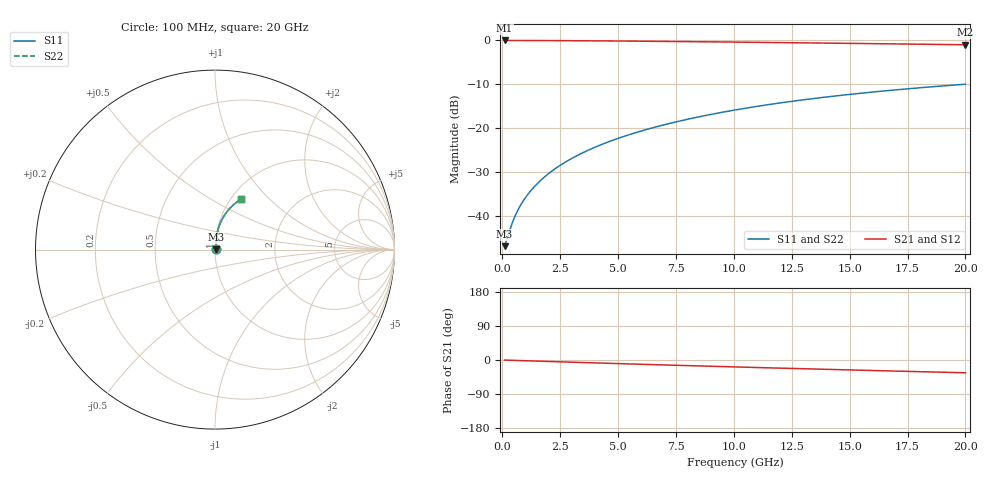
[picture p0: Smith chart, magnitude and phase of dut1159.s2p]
! Touchstone file exported from HFSS 2024.1.0
!  File:  C:/UserFiles/LocalFiles/RDL_TSV_Batchsim/temp_RDL_bottom_1159_1780056408.aedt
!  Generated:  08:09:33 PM May 29, 2026
!  Design:  RDL_bottom
!  Project:  temp_RDL_bottom_1159_1780056408
!  Setup:  Setup1
!  Solution:  Sweep
! Variables:
!  dtsv = 10.80580581um
!  hbump = 3um
!  htsv = 80.6um
!  ldown = 470.57um
!  lrdl = 100um
!  p = 40
!  p1 = 42.85um
!  rhole = 1um
!  t = 450um
!  tdown = 2.03um
!  trdl = 3.915915916um
!  wdown = 20.92um
!  wrdl = 20um
# GHz S MA R 50.000000
! Terminal data exported
! Port[1] = RDL1_T1
! Port[2] = RDL1_T2
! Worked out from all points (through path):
!   200 points, 100 MHz to 20 GHz, reference 50 ohm
!   highest |S21| = -0.04 dB at 100 MHz (marker M1); lowest = -1.0 dB at 20 GHz (marker M2)
!   group delay of S21, straight-line fit = 4.66 ps
!   lowest |S11| = -46.8 dB at 100 MHz (marker M3), VSWR 1.01, Z = 50.4 + j0.169 ohm
!   |S11| at or under -10 dB: start of sweep to 19.96 GHz
!   |S22| runs from -46.8 to -10.0 dB; largest |S21 - S12| = 2e-15
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0.1  0.004583 21.5  0.9957 -0.2  0.9957 -0.2  0.004583 21.5
! Gamma 0 0 0 0
! Port Impedance 50 0 50 0
0.4  0.007992 54.7  0.9953 -0.8  0.9953 -0.8  0.007992 54.7
0.5  0.009365 59.4  0.9951 -1.0  0.9951 -1.0  0.009365 59.4
0.6  0.01075 62.9  0.9949 -1.2  0.9949 -1.2  0.01075 62.9
0.7  0.01215 65.5  0.9947 -1.4  0.9947 -1.4  0.01215 65.5
0.9  0.01493 69.3  0.9943 -1.8  0.9943 -1.8  0.01493 69.3
1.2  0.01914 73.2  0.9938 -2.4  0.9938 -2.4  0.01914 73.2
1.4  0.02197 75.0  0.9934 -2.8  0.9934 -2.8  0.02197 75.0
1.7  0.02626 77.1  0.9928 -3.3  0.9928 -3.3  0.02626 77.1
2.2  0.03355 79.4  0.9917 -4.3  0.9917 -4.3  0.03355 79.4
2.8  0.04248 81.0  0.99 -5.4  0.99 -5.4  0.04248 81.0
3.5  0.05317 82.1  0.9877 -6.8  0.9877 -6.8  0.05316 82.1
4.2  0.0641 82.5  0.985 -8.1  0.985 -8.1  0.0641 82.5
5  0.07688 82.6  0.9816 -9.5  0.9816 -9.5  0.07688 82.6
5.9  0.09157 82.3  0.9773 -11.2  0.9773 -11.2  0.09156 82.3
6.8  0.1065 81.7  0.9727 -12.8  0.9727 -12.8  0.1065 81.7
8.4  0.1335 80.0  0.9638 -15.5  0.9638 -15.5  0.1335 80.0
10.1  0.1624 77.8  0.9537 -18.4  0.9537 -18.4  0.1624 77.8
11.7  0.1893 75.5  0.9439 -21.0  0.9439 -21.0  0.1893 75.4
13.4  0.2173 72.8  0.9331 -23.7  0.9331 -23.7  0.2173 72.8
16.7  0.2691 67.7  0.9118 -28.8  0.9118 -28.8  0.2691 67.6
20  0.3168 62.6  0.89 -33.7  0.89 -33.7  0.3167 62.5
